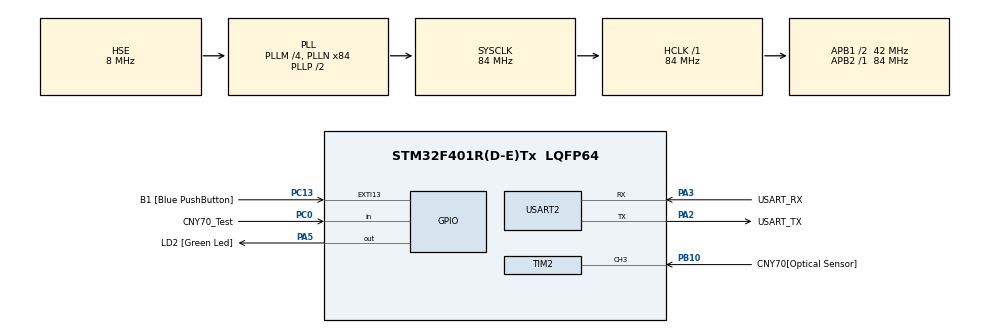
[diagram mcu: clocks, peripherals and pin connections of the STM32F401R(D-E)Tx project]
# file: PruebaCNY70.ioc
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Mcu.Family=STM32F4
Mcu.Name=STM32F401R(D-E)Tx
Mcu.Package=LQFP64
NVIC.PriorityGroup=NVIC_PRIORITYGROUP_0
NVIC.TIM2_IRQn=true\:0\:0\:false\:false\:true\:true\:true\:true
NVIC.TIM3_IRQn=true\:0\:0\:false\:false\:true\:true\:true\:true
PA13.GPIO_Label=TMS
PA13.Mode=Serial_Wire
PA13.Signal=SYS_JTMS-SWDIO
PA14.GPIO_Label=TCK
PA14.Mode=Serial_Wire
PA14.Signal=SYS_JTCK-SWCLK
PA2.GPIO_Label=USART_TX
PA2.GPIO_Mode=GPIO_MODE_AF_PP
PA2.GPIO_PuPd=GPIO_NOPULL
PA2.GPIO_Speed=GPIO_SPEED_FREQ_LOW
PA2.Mode=Asynchronous
PA2.Signal=USART2_TX
PA3.GPIO_Label=USART_RX
PA3.GPIO_Mode=GPIO_MODE_AF_PP
PA3.GPIO_PuPd=GPIO_NOPULL
PA3.GPIO_Speed=GPIO_SPEED_FREQ_LOW
PA3.Mode=Asynchronous
PA3.Signal=USART2_RX
PA5.GPIO_Label=LD2 [Green Led]
PA5.GPIO_Mode=GPIO_MODE_OUTPUT_PP
PA5.GPIO_PuPd=GPIO_NOPULL
PA5.GPIO_Speed=GPIO_SPEED_FREQ_LOW
PA5.Signal=GPIO_Output
PB10.GPIO_Label=CNY70[Optical Sensor]
PB10.GPIO_PuPd=GPIO_PULLDOWN
PB10.Signal=S_TIM2_CH3
PB3.GPIO_Label=SWO
PB3.Signal=SYS_JTDO-SWO
PC0.GPIO_Label=CNY70_Test
PC0.GPIO_PuPd=GPIO_PULLDOWN
PC0.Signal=GPIO_Input
PC13-ANTI_TAMP.GPIO_Label=B1 [Blue PushButton]
PC13-ANTI_TAMP.GPIO_ModeDefaultEXTI=GPIO_MODE_IT_FALLING
PC13-ANTI_TAMP.GPIO_PuPd=GPIO_NOPULL
PC13-ANTI_TAMP.Signal=GPXTI13
PC14-OSC32_IN.Mode=LSE-External-Oscillator
PC14-OSC32_IN.Signal=RCC_OSC32_IN
PC15-OSC32_OUT.Mode=LSE-External-Oscillator
PC15-OSC32_OUT.Signal=RCC_OSC32_OUT
PH0\ -\ OSC_IN.Mode=HSE-External-Clock-Source
PH0\ -\ OSC_IN.Signal=RCC_OSC_IN
PH1\ -\ OSC_OUT.Mode=HSE-External-Clock-Source
PH1\ -\ OSC_OUT.Signal=RCC_OSC_OUT
ProjectManager.HeapSize=0x200
ProjectManager.StackSize=0x400
ProjectManager.TargetToolchain=STM32CubeIDE
RCC.48MHZClocksFreq_Value=24000000
RCC.AHBFreq_Value=84000000
RCC.APB1CLKDivider=RCC_HCLK_DIV2
RCC.APB1Freq_Value=42000000
RCC.APB1TimFreq_Value=84000000
RCC.APB2Freq_Value=84000000
RCC.APB2TimFreq_Value=84000000
RCC.CortexFreq_Value=84000000
RCC.HCLKFreq_Value=84000000
RCC.HSE_VALUE=8000000
RCC.HSI_VALUE=16000000
RCC.PLLM=4
RCC.PLLN=84
RCC.PLLQ=7
RCC.PLLSourceVirtual=RCC_PLLSOURCE_HSE
RCC.SYSCLKFreq_VALUE=84000000
RCC.SYSCLKSource=RCC_SYSCLKSOURCE_PLLCLK
RCC.VCOOutputFreq_Value=168000000
SH.S_TIM2_CH3.0=TIM2_CH3,Input_Capture3_from_TI3
TIM2.AutoReloadPreload=TIM_AUTORELOAD_PRELOAD_ENABLE
TIM2.Channel-Input_Capture3_from_TI3=TIM_CHANNEL_3
TIM2.ClockDivision=TIM_CLOCKDIVISION_DIV2
TIM2.Period=10000-1
TIM2.Prescaler=42000-1
TIM3.ClockDivision=TIM_CLOCKDIVISION_DIV2
TIM3.Period=60000-1
TIM3.Prescaler=42000-1
USART2.VirtualMode=VM_ASYNC
VP_TIM2_VS_ClockSourceINT.Mode=Internal
VP_TIM3_VS_ClockSourceINT.Mode=Internal
board=NUCLEO-F401RE

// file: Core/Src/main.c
/* USER CODE BEGIN Header */
/**
  ******************************************************************************
  * @file           : main.c
  * @brief          : Main program body
  ******************************************************************************
  * @attention
  *
  * Copyright (c) 2023 STMicroelectronics.
  * All rights reserved.
  *
  * This software is licensed under terms that can be found in the LICENSE file
  * in the root directory of this software component.
  * If no LICENSE file comes with this software, it is provided AS-IS.
  *
  ******************************************************************************
  */
/* USER CODE END Header */
#include "main.h"

/* USER CODE BEGIN PD */

#define DIAMETRO_EJE 0.015 // En metros
#define PI 3.14

/* USER CODE END PD */

TIM_HandleTypeDef htim2;
TIM_HandleTypeDef htim3;

UART_HandleTypeDef huart2;

/* USER CODE BEGIN PV */

uint32_t lecturaCNY70=0;
uint32_t flancosLeidosCNY70;
uint32_t rpmCNY70;
float windSpeed;

/* USER CODE END PV */

void SystemClock_Config(void);
static void MX_GPIO_Init(void);
static void MX_USART2_UART_Init(void);
static void MX_TIM2_Init(void);
static void MX_TIM3_Init(void);
/* USER CODE BEGIN PFP */

void HAL_TIM_IC_CaptureCallback(TIM_HandleTypeDef *htim);
void HAL_TIM_PeriodElapsedCallback(TIM_HandleTypeDef *htim);

float ConvertRPMtoMeterPerSecond(uint32_t rpm);

/* USER CODE END PFP */

/* USER CODE BEGIN 0 */
void HAL_TIM_PeriodElapsedCallback(TIM_HandleTypeDef *htim)
{
	if(htim == &htim3)
	{
		rpmCNY70= flancosLeidosCNY70; //Guardo el valor de las rpm en el ultimo minuto
		flancosLeidosCNY70= 0; //Reinicio el contador de flancos
	}
}

void HAL_TIM_IC_CaptureCallback(TIM_HandleTypeDef *htim)
{
	flancosLeidosCNY70++; //Cuento cada revolucion del sensor
}

float ConvertRPMtoMeterPerSecond(uint32_t rpm)
{
	return ( PI * DIAMETRO_EJE * rpm ) /60; //Velocidad en m/s
}

/* USER CODE END 0 */

int main(void)
{

  /* MCU Configuration--------------------------------------------------------*/

  /* Reset of all peripherals, Initializes the Flash interface and the Systick. */
  HAL_Init();

  /* Configure the system clock */
  SystemClock_Config();

  /* Initialize all configured peripherals */
  MX_GPIO_Init();
  MX_USART2_UART_Init();
  MX_TIM2_Init();
  MX_TIM3_Init();
  /* USER CODE BEGIN 2 */

  HAL_TIM_IC_Start_IT(&htim2, TIM_CHANNEL_3);
  HAL_TIM_Base_Start_IT(&htim3);

  /* USER CODE END 2 */

  /* Infinite loop */
  /* USER CODE BEGIN WHILE */
  while (1)
  {
	  //lecturaCNY70= HAL_GPIO_ReadPin(CNY70_GPIO_Port, CNY70_Pin);
	  lecturaCNY70= HAL_GPIO_ReadPin(CNY70_Test_GPIO_Port, CNY70_Test_Pin);
	  windSpeed= ConvertRPMtoMeterPerSecond(rpmCNY70);
	  HAL_GPIO_WritePin(LD2_GPIO_Port, LD2_Pin, lecturaCNY70);

    /* USER CODE END WHILE */

  }
}

void SystemClock_Config(void)
{
  RCC_OscInitTypeDef RCC_OscInitStruct = {0};
  RCC_ClkInitTypeDef RCC_ClkInitStruct = {0};

  /** Configure the main internal regulator output voltage
  */
  __HAL_RCC_PWR_CLK_ENABLE();
  __HAL_PWR_VOLTAGESCALING_CONFIG(PWR_REGULATOR_VOLTAGE_SCALE2);

  /** Initializes the RCC Oscillators according to the specified parameters
  * in the RCC_OscInitTypeDef structure.
  */
  RCC_OscInitStruct.OscillatorType = RCC_OSCILLATORTYPE_HSE;
  RCC_OscInitStruct.HSEState = RCC_HSE_BYPASS;
  RCC_OscInitStruct.PLL.PLLState = RCC_PLL_ON;
  RCC_OscInitStruct.PLL.PLLSource = RCC_PLLSOURCE_HSE;
  RCC_OscInitStruct.PLL.PLLM = 4;
  RCC_OscInitStruct.PLL.PLLN = 84;
  RCC_OscInitStruct.PLL.PLLP = RCC_PLLP_DIV2;
  RCC_OscInitStruct.PLL.PLLQ = 7;
  if (HAL_RCC_OscConfig(&RCC_OscInitStruct) != HAL_OK)
  {
    Error_Handler();
  }

  /** Initializes the CPU, AHB and APB buses clocks
  */
  RCC_ClkInitStruct.ClockType = RCC_CLOCKTYPE_HCLK|RCC_CLOCKTYPE_SYSCLK
                              |RCC_CLOCKTYPE_PCLK1|RCC_CLOCKTYPE_PCLK2;
  RCC_ClkInitStruct.SYSCLKSource = RCC_SYSCLKSOURCE_PLLCLK;
  RCC_ClkInitStruct.AHBCLKDivider = RCC_SYSCLK_DIV1;
  RCC_ClkInitStruct.APB1CLKDivider = RCC_HCLK_DIV2;
  RCC_ClkInitStruct.APB2CLKDivider = RCC_HCLK_DIV1;

  if (HAL_RCC_ClockConfig(&RCC_ClkInitStruct, FLASH_LATENCY_2) != HAL_OK)
  {
    Error_Handler();
  }
}

static void MX_TIM2_Init(void)
{

  TIM_ClockConfigTypeDef sClockSourceConfig = {0};
  TIM_MasterConfigTypeDef sMasterConfig = {0};
  TIM_IC_InitTypeDef sConfigIC = {0};

  htim2.Instance = TIM2;
  htim2.Init.Prescaler = 42000-1;
  htim2.Init.CounterMode = TIM_COUNTERMODE_UP;
  htim2.Init.Period = 10000-1;
  htim2.Init.ClockDivision = TIM_CLOCKDIVISION_DIV2;
  htim2.Init.AutoReloadPreload = TIM_AUTORELOAD_PRELOAD_ENABLE;
  if (HAL_TIM_Base_Init(&htim2) != HAL_OK)
  {
    Error_Handler();
  }
  sClockSourceConfig.ClockSource = TIM_CLOCKSOURCE_INTERNAL;
  if (HAL_TIM_ConfigClockSource(&htim2, &sClockSourceConfig) != HAL_OK)
  {
    Error_Handler();
  }
  if (HAL_TIM_IC_Init(&htim2) != HAL_OK)
  {
    Error_Handler();
  }
  sMasterConfig.MasterOutputTrigger = TIM_TRGO_RESET;
  sMasterConfig.MasterSlaveMode = TIM_MASTERSLAVEMODE_DISABLE;
  if (HAL_TIMEx_MasterConfigSynchronization(&htim2, &sMasterConfig) != HAL_OK)
  {
    Error_Handler();
  }
  sConfigIC.ICPolarity = TIM_INPUTCHANNELPOLARITY_RISING;
  sConfigIC.ICSelection = TIM_ICSELECTION_DIRECTTI;
  sConfigIC.ICPrescaler = TIM_ICPSC_DIV1;
  sConfigIC.ICFilter = 0;
  if (HAL_TIM_IC_ConfigChannel(&htim2, &sConfigIC, TIM_CHANNEL_3) != HAL_OK)
  {
    Error_Handler();
  }

}

static void MX_TIM3_Init(void)
{

  TIM_ClockConfigTypeDef sClockSourceConfig = {0};
  TIM_MasterConfigTypeDef sMasterConfig = {0};

  htim3.Instance = TIM3;
  htim3.Init.Prescaler = 42000-1;
  htim3.Init.CounterMode = TIM_COUNTERMODE_UP;
  htim3.Init.Period = 60000-1;
  htim3.Init.ClockDivision = TIM_CLOCKDIVISION_DIV2;
  htim3.Init.AutoReloadPreload = TIM_AUTORELOAD_PRELOAD_DISABLE;
  if (HAL_TIM_Base_Init(&htim3) != HAL_OK)
  {
    Error_Handler();
  }
  sClockSourceConfig.ClockSource = TIM_CLOCKSOURCE_INTERNAL;
  if (HAL_TIM_ConfigClockSource(&htim3, &sClockSourceConfig) != HAL_OK)
  {
    Error_Handler();
  }
  sMasterConfig.MasterOutputTrigger = TIM_TRGO_RESET;
  sMasterConfig.MasterSlaveMode = TIM_MASTERSLAVEMODE_DISABLE;
  if (HAL_TIMEx_MasterConfigSynchronization(&htim3, &sMasterConfig) != HAL_OK)
  {
    Error_Handler();
  }

}

static void MX_USART2_UART_Init(void)
{

  huart2.Instance = USART2;
  huart2.Init.BaudRate = 115200;
  huart2.Init.WordLength = UART_WORDLENGTH_8B;
  huart2.Init.StopBits = UART_STOPBITS_1;
  huart2.Init.Parity = UART_PARITY_NONE;
  huart2.Init.Mode = UART_MODE_TX_RX;
  huart2.Init.HwFlowCtl = UART_HWCONTROL_NONE;
  huart2.Init.OverSampling = UART_OVERSAMPLING_16;
  if (HAL_UART_Init(&huart2) != HAL_OK)
  {
    Error_Handler();
  }

}

static void MX_GPIO_Init(void)
{
  GPIO_InitTypeDef GPIO_InitStruct = {0};

  /* GPIO Ports Clock Enable */
  __HAL_RCC_GPIOC_CLK_ENABLE();
  __HAL_RCC_GPIOH_CLK_ENABLE();
  __HAL_RCC_GPIOA_CLK_ENABLE();
  __HAL_RCC_GPIOB_CLK_ENABLE();

  /*Configure GPIO pin Output Level */
  HAL_GPIO_WritePin(LD2_GPIO_Port, LD2_Pin, GPIO_PIN_RESET);

  /*Configure GPIO pin : B1_Pin */
  GPIO_InitStruct.Pin = B1_Pin;
  GPIO_InitStruct.Mode = GPIO_MODE_IT_FALLING;
  GPIO_InitStruct.Pull = GPIO_NOPULL;
  HAL_GPIO_Init(B1_GPIO_Port, &GPIO_InitStruct);

  /*Configure GPIO pin : CNY70_Test_Pin */
  GPIO_InitStruct.Pin = CNY70_Test_Pin;
  GPIO_InitStruct.Mode = GPIO_MODE_INPUT;
  GPIO_InitStruct.Pull = GPIO_PULLDOWN;
  HAL_GPIO_Init(CNY70_Test_GPIO_Port, &GPIO_InitStruct);

  /*Configure GPIO pin : LD2_Pin */
  GPIO_InitStruct.Pin = LD2_Pin;
  GPIO_InitStruct.Mode = GPIO_MODE_OUTPUT_PP;
  GPIO_InitStruct.Pull = GPIO_NOPULL;
  GPIO_InitStruct.Speed = GPIO_SPEED_FREQ_LOW;
  HAL_GPIO_Init(LD2_GPIO_Port, &GPIO_InitStruct);

}

void Error_Handler(void)
{
  __disable_irq();
  while (1)
  {
  }
}
